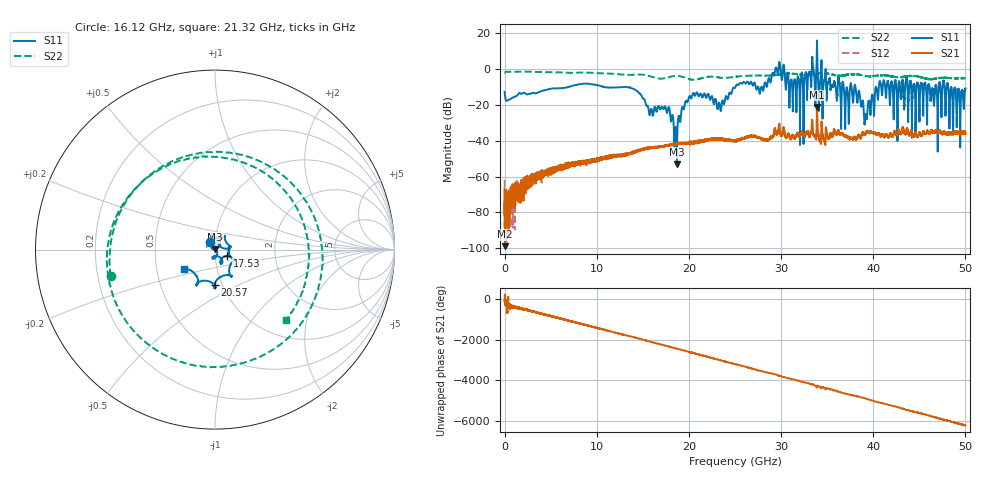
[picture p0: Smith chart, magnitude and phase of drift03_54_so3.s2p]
!Created with skrf (http://scikit-rf.org).
# Hz S RI R 50.0
!freq ReS11 ImS11 ReS21 ImS21 ReS12 ImS12 ReS22 ImS22
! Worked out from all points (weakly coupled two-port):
!   10001 points, 300 kHz to 50 GHz, reference 50 ohm
!   highest |S21| = -21.10 dB at 33.9 GHz (marker M1); lowest = -98.9 dB at 55.3 MHz (marker M2)
!   lowest |S11| = -53.1 dB at 18.7 GHz (marker M3), VSWR 1.00, Z = 50 + j0.221 ohm
!   |S11| at or under -10 dB: start of sweep to 6.947 GHz; 13.31 GHz to 25.05 GHz (11.73 GHz wide, 61.2 % of centre); 38.08 GHz to 40.27 GHz (2.191 GHz wide, 5.59 % of centre) (the widest 3 of 54)
!   |S22| runs from -5.9 to -1.3 dB; largest |S21 - S12| = 0.0068
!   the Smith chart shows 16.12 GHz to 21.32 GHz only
!   S11 on the Smith chart (normalised r, x): 16.12 GHz: 0.94, +0.08; 17.53 GHz: 1.14, -0.08; 20.57 GHz: 0.92, -0.38; 21.32 GHz: 0.69, -0.16
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300000  -0.2097 -0.0982  0.00012 -0.000445  -0.000694 0.000404  -0.7633 -0.1936
5.529967e7  -0.1598 0.0608  -1.08e-05 -3.31e-06  -8.17e-05 -6.36e-05  -0.8287 0.0639
1.535291e9  0.2047 0.0435  -8.59e-05 -0.000459  -0.000364 -0.000416  0.8487 0.078
3.160281e9  -0.2185 -0.00859  9.45e-05 0.000776  -3.54e-05 0.000807  -0.8439 -0.025
4.665272e9  0.2634 0.0613  -7.85e-05 -0.00129  -0.00013 -0.00147  0.8189 0.1425
6.360262e9  -0.2999 0.000357  0.000546 0.00186  0.000612 0.00177  -0.8037 -0.0431
8.33525e9  0.2836 -0.2674  -0.00254 -0.000894  -0.00218 -0.00051  0.602 -0.535
9.575243e9  -0.3717 -0.0483  0.00143 0.00255  0.00123 0.00243  -0.7855 -0.0954
1.124523e10  0.3054 0.0231  -0.00217 -0.00253  -0.0024 -0.00237  0.757 0.02
1.61202e10  -0.0302 0.0427  0.00593 0.00215  0.00621 0.00198  -0.5816 -0.1459
1.66702e10  0.0544 0.075  0.00458 -0.00496  0.00463 -0.00483  -0.3599 0.4178
1.752519e10  0.0678 -0.0352  -0.00603 -0.0038  -0.00581 -0.00403  0.4914 0.2912
1.869519e10  0.000238 0.00221  0.00259 0.00793  0.00263 0.00784  -0.088 -0.6481
2.056518e10  -0.00266 -0.1967  -0.00799 -0.00457  -0.00717 -0.00434  0.3667 0.3511
2.132017e10  -0.171 -0.1082  -0.00502 0.00828  -0.00516 0.00811  0.3973 -0.3898
2.500015e10  -0.2968 -0.0485  0.00783 0.00597  0.00818 0.0069  -0.1828 -0.5808
3.051512e10  0.2345 -0.1299  -0.00239 0.0123  -0.00208 0.0123  0.7426 -0.0676
3.213011e10  0.2007 0.3738  -0.000255 -0.0148  -0.000444 -0.0153  -0.6956 0.0125
3.33351e10  0.491 -0.9993  -0.0061 0.0257  -0.00648 0.0256  0.6142 0.3656
3.38951e10  -0.5674 -6.342  0.087 0.0134  0.0839 0.00987  0.6776 -0.3242
4.167005e10  -0.2173 0.2861  -0.0116 -0.00474  -0.0112 -0.00505  -0.6493 -0.0573
5e10  -0.1454 -0.2511  0.000984 -0.0156  0.001 -0.0164  0.4677 -0.3159
